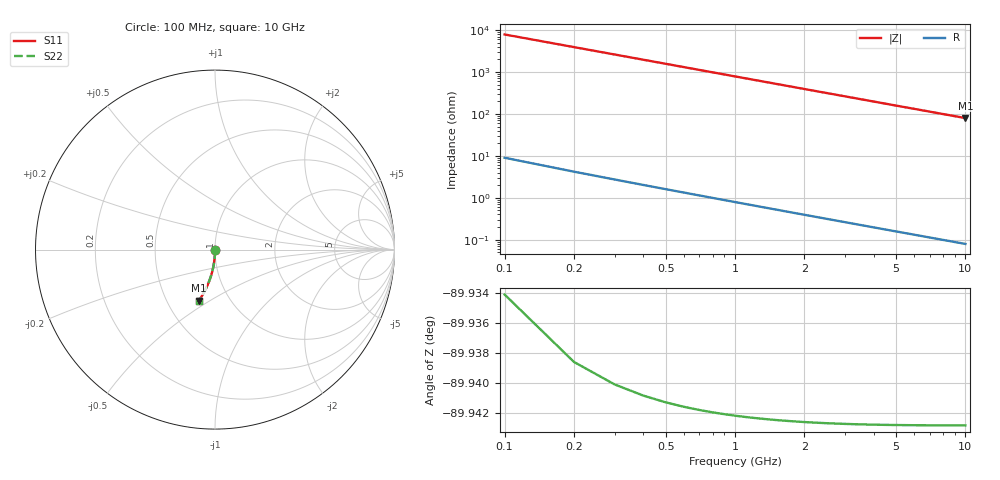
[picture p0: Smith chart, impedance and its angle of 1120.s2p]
# Hz S RI R 50.00
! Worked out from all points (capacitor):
!   100 points, 100 MHz to 10 GHz, reference 50 ohm
!   read as one part in shunt: C = 203 fF near 100 MHz
!   lowest |Z| = 79.7 ohm at 10 GHz (marker M1)
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1e8  -1.18e-05 -0.00317  1 -0.0032  1 -0.0032  -1.18e-05 -0.00317
2e8  -4.54e-05 -0.00635  1 -0.0064  1 -0.0064  -4.54e-05 -0.00635
3e8  -9.93e-05 -0.00952  0.9999 -0.0096  0.9999 -0.0096  -9.93e-05 -0.00952
4e8  -0.000173 -0.0127  0.9998 -0.0128  0.9998 -0.0128  -0.000173 -0.0127
5e8  -0.000268 -0.0159  0.9997 -0.016  0.9997 -0.016  -0.000268 -0.0159
6e8  -0.000383 -0.019  0.9996 -0.0192  0.9996 -0.0192  -0.000383 -0.019
7e8  -0.000517 -0.0222  0.9995 -0.0224  0.9995 -0.0224  -0.000517 -0.0222
8e8  -0.000672 -0.0254  0.9993 -0.0256  0.9993 -0.0256  -0.000672 -0.0254
9e8  -0.000847 -0.0285  0.9991 -0.0287  0.9991 -0.0287  -0.000847 -0.0285
1.1e9  -0.00126 -0.0348  0.9987 -0.0351  0.9987 -0.0351  -0.00126 -0.0348
1.4e9  -0.00202 -0.0443  0.998 -0.0446  0.998 -0.0446  -0.00202 -0.0443
1.8e9  -0.00332 -0.0568  0.9967 -0.0573  0.9967 -0.0573  -0.00332 -0.0568
2.1e9  -0.0045 -0.0662  0.9955 -0.0667  0.9955 -0.0667  -0.0045 -0.0662
2.5e9  -0.00634 -0.0786  0.9937 -0.0792  0.9937 -0.0792  -0.00634 -0.0786
2.9e9  -0.00848 -0.0909  0.9915 -0.0916  0.9915 -0.0916  -0.00848 -0.0909
3.4e9  -0.0116 -0.1061  0.9884 -0.107  0.9884 -0.107  -0.0116 -0.1061
4.2e9  -0.0175 -0.1301  0.9825 -0.1311  0.9825 -0.1311  -0.0175 -0.1301
5.1e9  -0.0255 -0.1564  0.9745 -0.1577  0.9745 -0.1577  -0.0255 -0.1564
5.9e9  -0.0337 -0.1792  0.9663 -0.1807  0.9663 -0.1807  -0.0337 -0.1792
6.7e9  -0.0429 -0.2012  0.9571 -0.203  0.9571 -0.203  -0.0429 -0.2012
8.4e9  -0.0655 -0.2458  0.9345 -0.248  0.9345 -0.248  -0.0655 -0.2458
1e10  -0.09 -0.2843  0.91 -0.287  0.91 -0.287  -0.09 -0.2843
